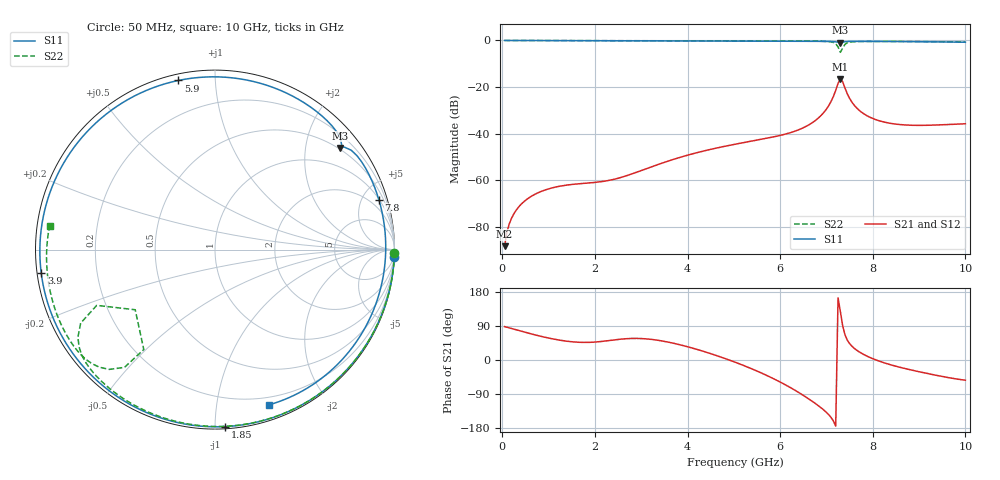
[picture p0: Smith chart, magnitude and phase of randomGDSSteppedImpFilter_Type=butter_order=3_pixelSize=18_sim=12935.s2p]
! freq	dB(S11)	phase(S11)	dB(S12)	phase(S12)
!  dB(S21)	phase(S21)	dB(S22)	phase(S22)
!S-par simulation data
#  GHz  S  DB  R 50
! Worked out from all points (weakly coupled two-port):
!   200 points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, 50 MHz to 10 GHz, reference 50 ohm
!   highest |S21| = -16.52 dB at 7.3 GHz (marker M1); lowest = -88.2 dB at 50 MHz (marker M2)
!   lowest |S11| = -0.9 dB at 7.3 GHz (marker M3), VSWR 18.73, Z = 23.4 + j138 ohm
!   |S11| at or under -10 dB: nowhere
!   |S22| runs from -5.1 to 0.0 dB; largest |S21 - S12| = 0
!   S11 on the Smith chart (normalised r, x): 50 MHz: 0, -47; 1.85 GHz: 0.01, -1.06; 3.9 GHz: 0.01, -0.07; 5.9 GHz: 0.03, +0.81; 7.8 GHz: 1.05, +6.55; 10 GHz: 0.13, -1.40
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0.05  -0.00 -2.5  -88.23 88.1  -88.23 88.1  -0.00 -1.1
0.35  -0.03 -17.0  -71.50 77.8  -71.50 77.8  -0.01 -7.5
0.65  -0.04 -31.5  -66.56 68.0  -66.56 68.0  -0.02 -14.0
1.2  -0.07 -57.4  -62.66 53.2  -62.66 53.2  -0.03 -25.6
1.75  -0.10 -82.3  -61.31 46.4  -61.31 46.4  -0.05 -37.1
1.85  -0.11 -86.7  -61.15 46.5  -61.15 46.5  -0.05 -39.2
2.55  -0.14 -116.8  -58.82 54.9  -58.82 54.9  -0.07 -53.5
3.4  -0.18 -151.9  -52.94 51.3  -52.94 51.3  -0.09 -70.2
3.9  -0.20 -172.3  -49.77 38.2  -49.77 38.2  -0.11 -79.8
4.45  -0.23 165.0  -46.92 18.8  -46.92 18.8  -0.13 -90.1
5.05  -0.27 139.7  -44.42 -6.8  -44.42 -6.8  -0.16 -101.2
5.9  -0.32 102.2  -41.19 -51.9  -41.19 -51.9  -0.21 -116.7
6.7  -0.37 65.6  -35.21 -109.5  -35.21 -109.5  -0.29 -132.3
7  -0.41 51.5  -29.41 -138.4  -29.41 -138.4  -0.43 -140.2
7.2  -0.59 41.7  -21.40 -174.3  -21.40 -174.3  -1.38 -151.3
7.3  -0.93 39.0  -16.52 128.2  -16.52 128.2  -5.09 -143.0
7.4  -0.54 36.1  -20.42 66.5  -20.42 66.5  -1.64 -127.5
7.55  -0.41 28.5  -26.47 36.3  -26.47 36.3  -0.60 -136.9
7.8  -0.41 17.0  -31.38 14.8  -31.38 14.8  -0.42 -144.6
8.35  -0.45 -6.8  -35.43 -11.4  -35.43 -11.4  -0.42 -156.2
9.2  -0.57 -40.9  -36.37 -36.1  -36.37 -36.1  -0.51 -172.4
10  -0.77 -70.9  -35.74 -53.4  -35.74 -53.4  -0.62 171.8
